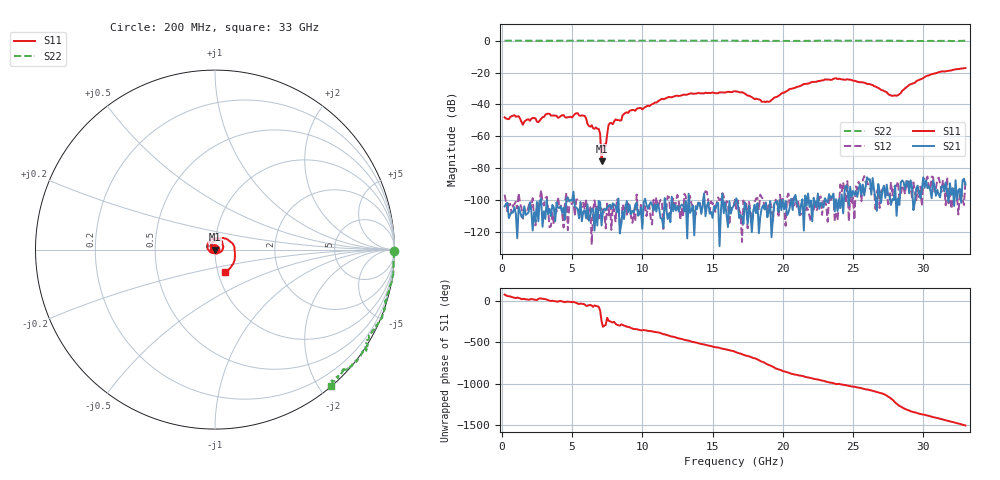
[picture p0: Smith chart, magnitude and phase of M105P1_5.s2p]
# GHZ S RI R 50
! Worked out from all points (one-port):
!   329 points, 200 MHz to 33 GHz, reference 50 ohm
!   lowest |S11| = -75.7 dB at 7.1 GHz (marker M1), VSWR 1.00, Z = 50 + j0.0145 ohm
!   |S11| at or under -10 dB: start of sweep to end of sweep
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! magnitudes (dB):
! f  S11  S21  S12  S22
! 200 MHz  -48.0  -103.9  -96.5  0.0
! 1.2 GHz  -47.4  -104.1  -95.5  0.0
! 1.5 GHz  -52.7  -111.0  -111.6  0.0
! 3.3 GHz  -45.8  -108.9  -106.0  0.0
! 5.7 GHz  -46.8  -113.2  -104.4  0.0
! 6.2 GHz  -53.5  -112.9  -103.9  0.0
! 6.9 GHz  -55.4  -100.5  -111.5  0.0
! 7 GHz  -58.3  -101.2  -102.5  0.0
! 7.1 GHz  -75.7  -115.9  -106.0  0.0
! 7.2 GHz  -67.4  -107.1  -105.9  0.0
! 7.4 GHz  -66.0  -106.4  -117.7  0.0
! 7.6 GHz  -52.8  -103.6  -109.5  0.0
! 7.7 GHz  -51.7  -103.0  -102.9  0.0
! 11.2 GHz  -37.5  -105.3  -102.0  -0.1
! 16.6 GHz  -31.7  -101.8  -99.7  0.0
! 19 GHz  -38.4  -107.7  -102.6  -0.1
! 22.1 GHz  -25.9  -113.3  -106.3  -0.1
! 24.8 GHz  -24.4  -91.6  -98.4  0.0
! 27.6 GHz  -34.0  -97.1  -100.6  0.0
! 28.2 GHz  -34.1  -98.8  -88.2  -0.1
! 30.5 GHz  -21.3  -93.6  -93.6  -0.1
! 33 GHz  -17.2  -90.2  -88.2  0.0
